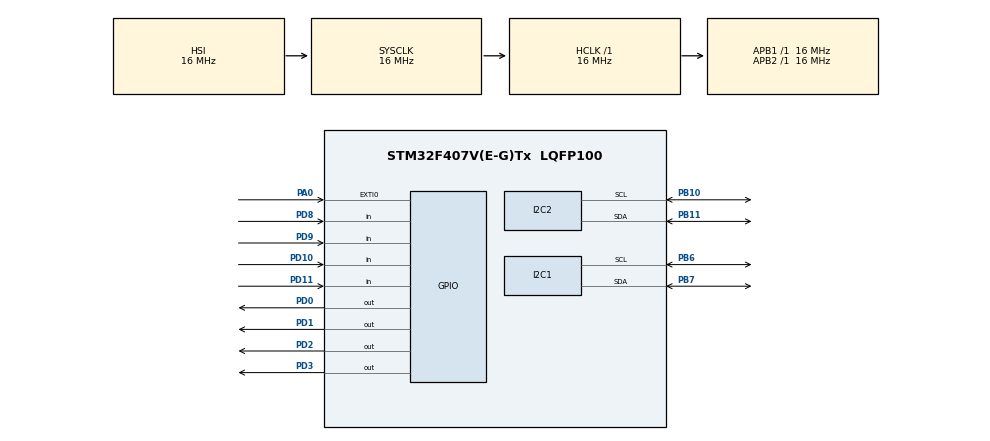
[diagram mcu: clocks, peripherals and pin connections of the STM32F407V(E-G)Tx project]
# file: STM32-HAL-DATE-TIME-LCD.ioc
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Mcu.Family=STM32F4
Mcu.Name=STM32F407V(E-G)Tx
Mcu.Package=LQFP100
NVIC.EXTI0_IRQn=true\:14\:0\:true\:false\:true\:true\:true\:true
NVIC.PriorityGroup=NVIC_PRIORITYGROUP_4
NVIC.TIM6_DAC_IRQn=true\:15\:0\:true\:false\:true\:true\:true\:true
PA0-WKUP.Signal=GPXTI0
PB10.GPIO_Mode=GPIO_MODE_AF_OD
PB10.GPIO_Pu=GPIO_PULLUP
PB10.GPIO_Speed=GPIO_SPEED_FREQ_LOW
PB10.Mode=I2C
PB10.Signal=I2C2_SCL
PB11.GPIO_Mode=GPIO_MODE_AF_OD
PB11.GPIO_Pu=GPIO_PULLUP
PB11.GPIO_Speed=GPIO_SPEED_FREQ_LOW
PB11.Mode=I2C
PB11.Signal=I2C2_SDA
PB6.GPIO_Mode=GPIO_MODE_AF_OD
PB6.GPIO_Pu=GPIO_PULLUP
PB6.GPIO_Speed=GPIO_SPEED_FREQ_LOW
PB6.Mode=I2C
PB6.Signal=I2C1_SCL
PB7.GPIO_Mode=GPIO_MODE_AF_OD
PB7.GPIO_Pu=GPIO_PULLUP
PB7.GPIO_Speed=GPIO_SPEED_FREQ_LOW
PB7.Mode=I2C
PB7.Signal=I2C1_SDA
PD0.GPIO_ModeDefaultOutputPP=GPIO_MODE_OUTPUT_PP
PD0.GPIO_PuPd=GPIO_NOPULL
PD0.GPIO_Speed=GPIO_SPEED_FREQ_LOW
PD0.PinState=GPIO_PIN_RESET
PD0.Signal=GPIO_Output
PD1.GPIO_ModeDefaultOutputPP=GPIO_MODE_OUTPUT_PP
PD1.GPIO_PuPd=GPIO_NOPULL
PD1.GPIO_Speed=GPIO_SPEED_FREQ_LOW
PD1.PinState=GPIO_PIN_RESET
PD1.Signal=GPIO_Output
PD10.GPIO_Mode=GPIO_MODE_INPUT
PD10.GPIO_PuPd=GPIO_PULLUP
PD10.Signal=GPIO_Input
PD11.GPIO_Mode=GPIO_MODE_INPUT
PD11.GPIO_PuPd=GPIO_PULLUP
PD11.Signal=GPIO_Input
PD2.GPIO_ModeDefaultOutputPP=GPIO_MODE_OUTPUT_PP
PD2.GPIO_PuPd=GPIO_NOPULL
PD2.GPIO_Speed=GPIO_SPEED_FREQ_LOW
PD2.PinState=GPIO_PIN_RESET
PD2.Signal=GPIO_Output
PD3.GPIO_ModeDefaultOutputPP=GPIO_MODE_OUTPUT_PP
PD3.GPIO_PuPd=GPIO_NOPULL
PD3.GPIO_Speed=GPIO_SPEED_FREQ_LOW
PD3.PinState=GPIO_PIN_RESET
PD3.Signal=GPIO_Output
PD8.GPIO_Mode=GPIO_MODE_INPUT
PD8.GPIO_PuPd=GPIO_PULLUP
PD8.Signal=GPIO_Input
PD9.GPIO_Mode=GPIO_MODE_INPUT
PD9.GPIO_PuPd=GPIO_PULLUP
PD9.Signal=GPIO_Input
ProjectManager.HeapSize=0x200
ProjectManager.StackSize=0x400
ProjectManager.TargetToolchain=STM32CubeIDE
RCC.48MHZClocksFreq_Value=14285714.285714285
RCC.AHBFreq_Value=16000000
RCC.APB1Freq_Value=16000000
RCC.APB1TimFreq_Value=16000000
RCC.APB2Freq_Value=16000000
RCC.APB2TimFreq_Value=16000000
RCC.CortexFreq_Value=16000000
RCC.HCLKFreq_Value=16000000
RCC.HSE_VALUE=8000000
RCC.HSI_VALUE=16000000
RCC.LSE_VALUE=32768
RCC.PLLM=8
RCC.PLLN=50
RCC.PLLP=RCC_PLLP_DIV4
RCC.PLLQ=7
RCC.SYSCLKFreq_VALUE=16000000
RCC.VCOOutputFreq_Value=100000000
TIM6.Period=62499
TIM6.Prescaler=255
VP_TIM6_VS_ClockSourceINT.Mode=Enable_Timer
board=STM32F407G-DISC1

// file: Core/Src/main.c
/* USER CODE BEGIN Header */
/**
  ******************************************************************************
  * @author			: Rafael Hernández Marrero (rafaelh96@gmail.com)
  * @file           : main.c
  * @brief          : Main program body
  ******************************************************************************
  * @attention
  *
  * Copyright (c) 2023 STMicroelectronics.
  * All rights reserved.
  *
  * This software is licensed under terms that can be found in the LICENSE file
  * in the root directory of this software component.
  * If no LICENSE file comes with this software, it is provided AS-IS.
  *
  ******************************************************************************
  */
/* USER CODE END Header */
#include "main.h"

/* USER CODE BEGIN Includes */
#include "keypad.h"
#include "rtc.h"
#include "lcd.h"
#include <stdio.h>
#include <stdint.h>
/* USER CODE END Includes */

I2C_HandleTypeDef hi2c1;
I2C_HandleTypeDef hi2c2;

TIM_HandleTypeDef htim6;

/* USER CODE BEGIN PV */

Keypad_HandleTypeDef keypad;
LCD_HandleTypeDef lcd;
RTC_HandleTypeDef rtc;

/* USER CODE END PV */

void SystemClock_Config(void);
static void MX_GPIO_Init(void);
static void MX_I2C1_Init(void);
static void MX_I2C2_Init(void);
static void MX_TIM6_Init(void);
/* USER CODE BEGIN PFP */

Keypad_HandleTypeDef keypad_init(void);

/* USER CODE END PFP */

/* USER CODE BEGIN 0 */

/**
 * @fn void number_to_string(uint8_t, char*)
 * @brief This function converts an integer value into its corresponding character.
 * @param num Integer value.
 * @param buf Character.
 */

void number_to_string(uint8_t num, char *buf){
	if (num < 10){
		buf[0] = '0';
		buf[1] = num+48;
	}else if (num >= 10 && num <99){
		buf[0] = (num / 10) + 48;
		buf[1] = (num % 10) + 48;
	}
}

/**
 * @fn char* time_to_string(RTC_time_t*)
 * @brief This function converts the rtc_time struct into a string with the format hh:mm:ss.
 * @param rtc_time Time handler.
 * @return char*
 */

char *time_to_string(RTC_time_t *rtc_time){
	static char buf[9];
	buf[2] = ':';
	buf[5] = ':';

	number_to_string(rtc_time->hours, buf);
	number_to_string(rtc_time->minutes, &buf[3]);
	number_to_string(rtc_time->seconds, &buf[6]);

	buf[8] = '\0';

	return buf;
}

/**
 * @fn char* date_to_string(RTC_date_t*)
 * @brief This function converts the rtc_date struct into a string with the format dd/mm/yyyy.
 * @param rtc_date Date handler.
 * @return char*
 */
char *date_to_string(RTC_date_t *rtc_date){
	static char buf[11];

	number_to_string(rtc_date->date, buf);
	buf[2] = '/';
	number_to_string(rtc_date->month, &buf[3]);
	buf[5] = '/';
	buf[6] = '2';
	buf[7] = '0';
	number_to_string(rtc_date->year, &buf[8]);
	buf[10] = '\0';

	return buf;
}

/**
 * @fn uint8_t num_returned()
 * @brief This function retrieves the keypad number pressed and prints it on the lcd.
 * This function can distinguishes between one decimal number and two decimal numbers.
 * The only way to accept a number is by pressing the "D" key.
 * @return uint8_t
 */

uint8_t num_returned(){

	uint8_t key;
	uint8_t num_buf[2];
	char data[2];
	uint8_t num;

	lcd_send_command(&lcd, LCD_CMD_Don_nC_BL);
	while(!key_selected(&keypad, &key));
	num_buf[0] = key;
	sprintf(data, "%d", key);
	lcd_print_string(&lcd, data);

	while(!key_selected(&keypad, &key));
	if(key != 'D'){
		num_buf[1] = key;
		sprintf(data, "%d", key);
		lcd_print_string(&lcd, data);
		while(!key_selected(&keypad, &key));
		if(key == 'D'){
			num = (num_buf[0] * 10) + num_buf[1];
		}else{
			return 120;
		}
	}else{
		num = num_buf[0];
	}

	return num;

}

/**
 * @fn void select_day(RTC_date_t*)
 * @brief This function let the user choose the day among the list of the week.
 * "D" is to select the day and "C" is to continuous to the next day.
 * @param current_date Date handler.
 */

void select_day(RTC_date_t *current_date){

	lcd_display_clear(&lcd);
	lcd_display_return_home(&lcd);

	char *day_of_week[] = { "Monday", "Tuesday", "Wednesday", "Thursday", "Friday", "Saturday", "Sunday" };
	uint8_t key = 0;
	int32_t counter = 0;
	uint8_t exit = 0;

	while (!exit){
		lcd_print_string(&lcd, "Day: ");
		lcd_print_string(&lcd, day_of_week[counter]);

		while(!key_selected(&keypad, &key));
		if(key == 'D'){
			current_date->day = (counter+1);
			exit = 1;
		}else if(key == 'C'){
			(counter == 6) ? (counter = 0) : (counter++);
		}

		lcd_display_clear(&lcd);
		lcd_display_return_home(&lcd);

	}

}

/**
 * @fn void config_menu()
 * @brief This function sets the time and date parameters.
 * The code will keep executing until the returned value is in its own boundaries.
 * @retval none
 */
void config_menu(){
	RTC_time_t current_time;
	RTC_date_t current_date;

	// Time format will be fixed at 24-hours format
	current_time.time_format = TIME_FORMAT_24HRS;

	select_day(&current_date);
	uint8_t temp = 0;

	lcd_display_clear(&lcd);
	lcd_display_return_home(&lcd);

	lcd_print_string(&lcd, "Date: ");
	temp = num_returned();

	while ((temp <= 0) || (temp >=32)){
		lcd_display_clear(&lcd);
		lcd_display_return_home(&lcd);
		lcd_send_command(&lcd, LCD_CMD_Don_nC_nBL);
		lcd_print_string(&lcd, "Not valid!");
		HAL_Delay(2000);
		lcd_display_clear(&lcd);
		lcd_display_return_home(&lcd);
		lcd_print_string(&lcd, "Date: ");
		temp = num_returned();
	}

	current_date.date = temp;
	temp = 0;

	lcd_display_clear(&lcd);
	lcd_display_return_home(&lcd);

	lcd_print_string(&lcd, "Month: ");
	temp = num_returned();

	while ((temp <= 0) || (temp >=13)){
		lcd_display_clear(&lcd);
		lcd_display_return_home(&lcd);
		lcd_send_command(&lcd, LCD_CMD_Don_nC_nBL);
		lcd_print_string(&lcd, "Not valid!");
		HAL_Delay(2000);
		lcd_display_clear(&lcd);
		lcd_display_return_home(&lcd);
		lcd_print_string(&lcd, "Month: ");
		temp = num_returned();
	}

	current_date.month = temp;
	temp = 0;

	lcd_display_clear(&lcd);
	lcd_display_return_home(&lcd);

	lcd_print_string(&lcd, "Year: 20");
	temp = num_returned();

	while ((temp <= 0) || (temp >=99)){
		lcd_display_clear(&lcd);
		lcd_display_return_home(&lcd);
		lcd_send_command(&lcd, LCD_CMD_Don_nC_nBL);
		lcd_print_string(&lcd, "Not valid!");
		HAL_Delay(2000);
		lcd_display_clear(&lcd);
		lcd_display_return_home(&lcd);
		lcd_print_string(&lcd, "Year: 20");
		temp = num_returned();
	}

	current_date.year = temp;
	temp = 0;

	lcd_display_clear(&lcd);
	lcd_display_return_home(&lcd);

	lcd_print_string(&lcd, "Hour: ");
	temp = num_returned();

	while ((temp < 0) || (temp >=24)){
		lcd_display_clear(&lcd);
		lcd_display_return_home(&lcd);
		lcd_send_command(&lcd, LCD_CMD_Don_nC_nBL);
		lcd_print_string(&lcd, "Not valid!");
		HAL_Delay(2000);
		lcd_display_clear(&lcd);
		lcd_display_return_home(&lcd);
		lcd_print_string(&lcd, "Hours: ");
		temp = num_returned();
	}

	current_time.hours = temp;
	temp = 0;

	lcd_display_clear(&lcd);
	lcd_display_return_home(&lcd);

	lcd_print_string(&lcd, "Minutes: ");
	temp = num_returned();

	while ((temp < 0) || (temp >=60)){
		lcd_display_clear(&lcd);
		lcd_display_return_home(&lcd);
		lcd_send_command(&lcd, LCD_CMD_Don_nC_nBL);
		lcd_print_string(&lcd, "Not valid!");
		HAL_Delay(2000);
		lcd_display_clear(&lcd);
		lcd_display_return_home(&lcd);
		lcd_print_string(&lcd, "Minutes: ");
		temp = num_returned();
	}

	current_time.minutes = temp;
	temp = 0;

	lcd_display_clear(&lcd);
	lcd_display_return_home(&lcd);

	lcd_print_string(&lcd, "Seconds: ");
	temp = num_returned();

	while ((temp < 0) || (temp >=60)){
		lcd_display_clear(&lcd);
		lcd_display_return_home(&lcd);
		lcd_send_command(&lcd, LCD_CMD_Don_nC_nBL);
		lcd_print_string(&lcd, "Not valid!");
		HAL_Delay(2000);
		lcd_display_clear(&lcd);
		lcd_display_return_home(&lcd);
		lcd_print_string(&lcd, "Seconds: ");
		temp = num_returned();
	}

	current_time.seconds = temp;
	temp = 0;

	lcd_display_clear(&lcd);
	lcd_display_return_home(&lcd);
	lcd_send_command(&lcd, LCD_CMD_Don_nC_nBL);

	rtc_set_current_time(&rtc, &current_time);
	rtc_set_current_date(&rtc, &current_date);

}

/**
 * @fn void HAL_TIM_PeriodElapsedCallback(TIM_HandleTypeDef*)
 * @brief Callback function triggered after TIMER6 issues an interrupt.
 * It will get the date and time every second and print them on the LCD screen.
 * @param htim Timer handler
 * @retval none
 */

void HAL_TIM_PeriodElapsedCallback(TIM_HandleTypeDef *htim){
	RTC_time_t current_time;
	RTC_date_t current_date;

	lcd_set_cursor(&lcd, 1,5);

	rtc_get_current_time(&rtc, &current_time);
	rtc_get_current_date(&rtc, &current_date);

	lcd_print_string(&lcd, time_to_string(&current_time));

	lcd_set_cursor(&lcd, 2,1);
	lcd_print_string(&lcd, date_to_string(&current_date));
	lcd_send_command(&lcd, LCD_CMD_MCR);
	lcd_print_string(&lcd, "<");
	lcd_print_string(&lcd, DAY_OF_WEEK(current_date.day));
	lcd_print_string(&lcd, ">");
}

/* USER CODE END 0 */

int main(void)
{

  /* MCU Configuration--------------------------------------------------------*/

  /* Reset of all peripherals, Initializes the Flash interface and the Systick. */
  HAL_Init();

  /* Configure the system clock */
  SystemClock_Config();

  /* Initialize all configured peripherals */
  MX_GPIO_Init();
  MX_I2C1_Init();
  MX_I2C2_Init();
  MX_TIM6_Init();
  /* USER CODE BEGIN 2 */

  // Initialization of external modules
  keypad = keypad_init();
  lcd_init_I2C(&lcd, &hi2c1);
  if (rtc_init(&rtc, &hi2c2)){
	printf("RTC init has failed\n");
	while(1);
  }

  // Initialising lcd
  lcd_set_cursor(&lcd, 1, 3);
  lcd_send_command(&lcd, LCD_CMD_Don_nC_nBL);
  lcd_print_string(&lcd, "Initialising");

  HAL_Delay(2000);

  config_menu();

  HAL_TIM_Base_Start_IT(&htim6);

  /* USER CODE END 2 */

  /* Infinite loop */
  while (1)
  {

  }
}

void SystemClock_Config(void)
{
  RCC_OscInitTypeDef RCC_OscInitStruct = {0};
  RCC_ClkInitTypeDef RCC_ClkInitStruct = {0};

  /** Configure the main internal regulator output voltage
  */
  __HAL_RCC_PWR_CLK_ENABLE();
  __HAL_PWR_VOLTAGESCALING_CONFIG(PWR_REGULATOR_VOLTAGE_SCALE1);

  /** Initializes the RCC Oscillators according to the specified parameters
  * in the RCC_OscInitTypeDef structure.
  */
  RCC_OscInitStruct.OscillatorType = RCC_OSCILLATORTYPE_HSI;
  RCC_OscInitStruct.HSIState = RCC_HSI_ON;
  RCC_OscInitStruct.HSICalibrationValue = RCC_HSICALIBRATION_DEFAULT;
  RCC_OscInitStruct.PLL.PLLState = RCC_PLL_NONE;
  if (HAL_RCC_OscConfig(&RCC_OscInitStruct) != HAL_OK)
  {
    Error_Handler();
  }

  /** Initializes the CPU, AHB and APB buses clocks
  */
  RCC_ClkInitStruct.ClockType = RCC_CLOCKTYPE_HCLK|RCC_CLOCKTYPE_SYSCLK
                              |RCC_CLOCKTYPE_PCLK1|RCC_CLOCKTYPE_PCLK2;
  RCC_ClkInitStruct.SYSCLKSource = RCC_SYSCLKSOURCE_HSI;
  RCC_ClkInitStruct.AHBCLKDivider = RCC_SYSCLK_DIV1;
  RCC_ClkInitStruct.APB1CLKDivider = RCC_HCLK_DIV1;
  RCC_ClkInitStruct.APB2CLKDivider = RCC_HCLK_DIV1;

  if (HAL_RCC_ClockConfig(&RCC_ClkInitStruct, FLASH_LATENCY_0) != HAL_OK)
  {
    Error_Handler();
  }
}

static void MX_I2C1_Init(void)
{

  hi2c1.Instance = I2C1;
  hi2c1.Init.ClockSpeed = 100000;
  hi2c1.Init.DutyCycle = I2C_DUTYCYCLE_2;
  hi2c1.Init.OwnAddress1 = 0;
  hi2c1.Init.AddressingMode = I2C_ADDRESSINGMODE_7BIT;
  hi2c1.Init.DualAddressMode = I2C_DUALADDRESS_DISABLE;
  hi2c1.Init.OwnAddress2 = 0;
  hi2c1.Init.GeneralCallMode = I2C_GENERALCALL_DISABLE;
  hi2c1.Init.NoStretchMode = I2C_NOSTRETCH_DISABLE;
  if (HAL_I2C_Init(&hi2c1) != HAL_OK)
  {
    Error_Handler();
  }

}

static void MX_I2C2_Init(void)
{

  hi2c2.Instance = I2C2;
  hi2c2.Init.ClockSpeed = 100000;
  hi2c2.Init.DutyCycle = I2C_DUTYCYCLE_2;
  hi2c2.Init.OwnAddress1 = 0;
  hi2c2.Init.AddressingMode = I2C_ADDRESSINGMODE_7BIT;
  hi2c2.Init.DualAddressMode = I2C_DUALADDRESS_DISABLE;
  hi2c2.Init.OwnAddress2 = 0;
  hi2c2.Init.GeneralCallMode = I2C_GENERALCALL_DISABLE;
  hi2c2.Init.NoStretchMode = I2C_NOSTRETCH_DISABLE;
  if (HAL_I2C_Init(&hi2c2) != HAL_OK)
  {
    Error_Handler();
  }

}

static void MX_TIM6_Init(void)
{

  TIM_MasterConfigTypeDef sMasterConfig = {0};

  htim6.Instance = TIM6;
  htim6.Init.Prescaler = 255;
  htim6.Init.CounterMode = TIM_COUNTERMODE_UP;
  htim6.Init.Period = 62499;
  htim6.Init.AutoReloadPreload = TIM_AUTORELOAD_PRELOAD_DISABLE;
  if (HAL_TIM_Base_Init(&htim6) != HAL_OK)
  {
    Error_Handler();
  }
  sMasterConfig.MasterOutputTrigger = TIM_TRGO_RESET;
  sMasterConfig.MasterSlaveMode = TIM_MASTERSLAVEMODE_DISABLE;
  if (HAL_TIMEx_MasterConfigSynchronization(&htim6, &sMasterConfig) != HAL_OK)
  {
    Error_Handler();
  }

}

static void MX_GPIO_Init(void)
{
  GPIO_InitTypeDef GPIO_InitStruct = {0};

  /* GPIO Ports Clock Enable */
  __HAL_RCC_GPIOA_CLK_ENABLE();
  __HAL_RCC_GPIOB_CLK_ENABLE();
  __HAL_RCC_GPIOD_CLK_ENABLE();

  /*Configure GPIO pin Output Level */
  HAL_GPIO_WritePin(GPIOD, GPIO_PIN_0|GPIO_PIN_1|GPIO_PIN_2|GPIO_PIN_3, GPIO_PIN_RESET);

  /*Configure GPIO pin : PA0 */
  GPIO_InitStruct.Pin = GPIO_PIN_0;
  GPIO_InitStruct.Mode = GPIO_MODE_IT_RISING;
  GPIO_InitStruct.Pull = GPIO_NOPULL;
  HAL_GPIO_Init(GPIOA, &GPIO_InitStruct);

  /*Configure GPIO pins : PD8 PD9 PD10 PD11 */
  GPIO_InitStruct.Pin = GPIO_PIN_8|GPIO_PIN_9|GPIO_PIN_10|GPIO_PIN_11;
  GPIO_InitStruct.Mode = GPIO_MODE_INPUT;
  GPIO_InitStruct.Pull = GPIO_PULLUP;
  HAL_GPIO_Init(GPIOD, &GPIO_InitStruct);

  /*Configure GPIO pins : PD0 PD1 PD2 PD3 */
  GPIO_InitStruct.Pin = GPIO_PIN_0|GPIO_PIN_1|GPIO_PIN_2|GPIO_PIN_3;
  GPIO_InitStruct.Mode = GPIO_MODE_OUTPUT_PP;
  GPIO_InitStruct.Pull = GPIO_NOPULL;
  GPIO_InitStruct.Speed = GPIO_SPEED_FREQ_LOW;
  HAL_GPIO_Init(GPIOD, &GPIO_InitStruct);

  /* EXTI interrupt init*/
  HAL_NVIC_SetPriority(EXTI0_IRQn, 14, 0);
  HAL_NVIC_EnableIRQ(EXTI0_IRQn);

}

/* USER CODE BEGIN 4 */

/**
 * @fn void HAL_GPIO_EXTI_Callback(uint16_t)
 * @brief Callback function triggered after the user press the "User button".
 * @param GPIO_Pin Specifies the pins connected EXTI line.
 */

void HAL_GPIO_EXTI_Callback(uint16_t GPIO_Pin){
	config_menu();
}

/**
 * @fn Keypad_HandleTypeDef keypad_init(void)
 * @brief Initialise the keypad handler by setting which GPIO pins and ports are used to work with the Keypad.
 * @return Keypad_HandleTypeDef Keypad handler.
 */

Keypad_HandleTypeDef keypad_init(void){

    Keypad_HandleTypeDef keypad;

    Keypad_PinDef pin_columns[4] = {COLUMN_1_Pin, COLUMN_2_Pin, COLUMN_3_Pin, COLUMN_4_Pin};
    Keypad_PortDef port_columns[4] = { COLUMN_1_GPIO_Port, COLUMN_2_GPIO_Port, COLUMN_3_GPIO_Port, COLUMN_4_GPIO_Port };

    Keypad_PinDef pin_rows[4] = {ROW_1_Pin, ROW_2_Pin, ROW_3_Pin, ROW_4_Pin};
    Keypad_PortDef port_rows[4] = { ROW_1_GPIO_Port, ROW_2_GPIO_Port, ROW_3_GPIO_Port, ROW_4_GPIO_Port };

    keypad = keypad_create(pin_rows, port_rows, pin_columns, port_columns);

    return keypad;

}

/* USER CODE END 4 */

void Error_Handler(void)
{
  __disable_irq();
  while (1)
  {
  }
}
